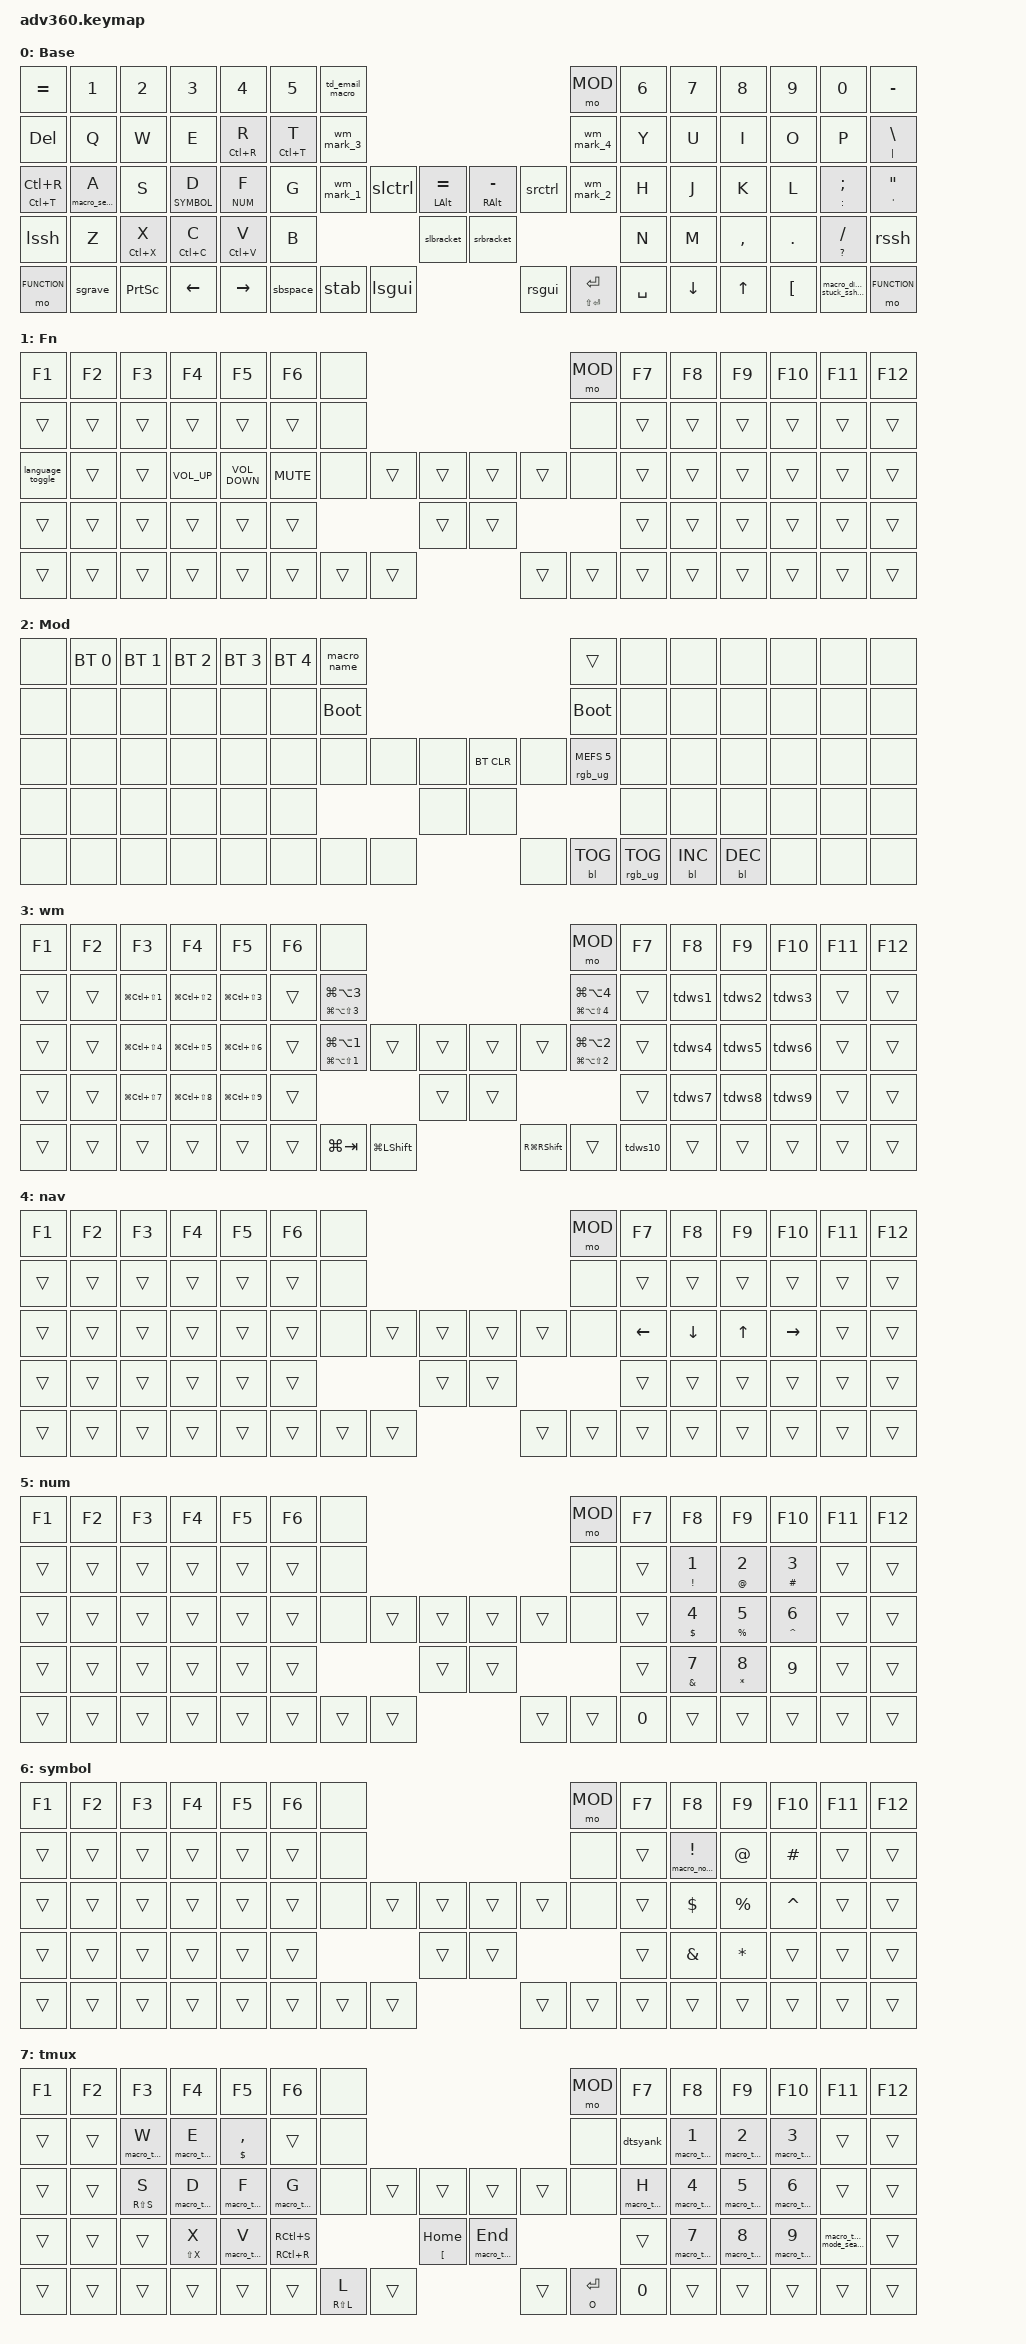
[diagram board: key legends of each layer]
#include <behaviors.dtsi>
#include <dt-bindings/zmk/keys.h>
#include <dt-bindings/zmk/bt.h>
#include <dt-bindings/zmk/rgb.h>
#include <dt-bindings/zmk/stp.h>
#include <dt-bindings/zmk/backlight.h>
#include <dt-bindings/zmk/pointing.h>

// The default layer is 0
#define FUNCTION 1
#define MOD      2
#define WM 3
#define NAV 4
#define NUM 5
#define SYMBOL 6
#define TMUX 7




/ {
    behaviors {
      #include "macros.dtsi"
      #include "version.dtsi"
      #ifndef VERSION_MACRO
      macro_ver: macro_ver {
        compatible = "zmk,behavior-macro";
        label = "macro_version";
        #binding-cells = <0>;
    bindings = <&kp RET>;
  };
  #endif

     stab: smarttab {
         compatible = "zmk,behavior-mod-morph";
         label = "SMART_TAB";
         #binding-cells = <0>;
         bindings = <&lt NAV TAB>, <&kp CARET>;
         mods = <(MOD_RCTL)>;
         keep-mods = <(MOD_RCTL)>;
     };

     slctrl: smart_left_control {
          compatible = "zmk,behavior-mod-morph";
          label = "SMART_LEFT_CONTROL";
          #binding-cells = <0>;
          bindings = <&hm LCTRL ESC>, <&hm LESS_THAN LEFT_PARENTHESIS>;
          mods = <(MOD_LSFT | MOD_RSFT)>;
        };
     srctrl: smart_right_control {
          compatible = "zmk,behavior-mod-morph";
          label = "SMART_RIGHT_CONTROL";
          #binding-cells = <0>;
          bindings = <&mt_sl RCTRL TMUX>, <&hm GREATER_THAN RIGHT_PARENTHESIS>;
          mods = <(MOD_LSFT | MOD_RSFT)>;
        };
     slbracket: smart_left_bracket {
          compatible = "zmk,behavior-mod-morph";
          label = "SMART_LEFT_BRACKET";
          #binding-cells = <0>;
          bindings = <&hm LSHIFT LEFT_BRACKET>, <&hm HOME LEFT_BRACE>;
          mods = <(MOD_LSFT | MOD_RSFT)>;
        };
     srbracket: smart_right_bracket {
          compatible = "zmk,behavior-mod-morph";
          label = "SMART_RIGHT_BRACKET";
          #binding-cells = <0>;
          bindings = <&hm RSHIFT RIGHT_BRACKET>, <&hm END RIGHT_BRACE>;
          mods = <(MOD_LSFT | MOD_RSFT)>;
        };

     sgrave: smart_grave {
          compatible = "zmk,behavior-mod-morph";
          label = "SMART_GRAVE";
          #binding-cells = <0>;
          bindings = <&ht_triple_backtic 0 GRAVE>, <&kp TILDE>;
          mods = <(MOD_LSFT | MOD_RSFT)>;
        };

     lsgui: left_smart_gui {
          compatible = "zmk,behavior-mod-morph";
          label = "LEFT_SMART_GUI";
          #binding-cells = <0>;
          bindings = <&mt_sl LGUI WM>, <&macro_home_dir>;
          mods = <(MOD_RGUI)>;
        };
     rsgui: right_smart_gui {
          compatible = "zmk,behavior-mod-morph";
          label = "RIGHT_SMART_GUI";
          #binding-cells = <0>;
          bindings = <&mt_sl RGUI WM>, <&macro_dir_up>;
          mods = <(MOD_LGUI)>;
        };
     lssh: left_smart_shift {
          compatible = "zmk,behavior-mod-morph";
          label = "LEFT_SMART_SHIFT";
          #binding-cells = <0>;
          bindings = <&sk LSHIFT>, <&caps_word>;
          mods = <(MOD_LSFT)>;
        };
     rssh: right_smart_shift {
           compatible = "zmk,behavior-mod-morph";
           label = "RIGHT_SMART_SHIFT";
           #binding-cells = <0>;
           bindings = <&sk RSHIFT>, <&caps_word>;
           mods = <(MOD_RSFT)>;
        };
     language_toggle: language_toggle {
           compatible = "zmk,behavior-mod-morph";
           #binding-cells = <0>;
           bindings = <&kp CAPS>, <&kp CAPS>;
           mods = <(MOD_LSFT | MOD_RSFT)>;
        };

      email: used_emails {
            compatible = "zmk,behavior-mod-morph";
            label = "USED_EMAILS";
            #binding-cells = <0>;
            bindings = <&macro_personal_email>, <&macro_work_email>;
            mods = <(MOD_RSFT)>;
        };

      td_email_macro: td_email_macro {
           compatible = "zmk,behavior-tap-dance";
           label = "TD_EMAIL_MACRO";
           #binding-cells = <0>;
           tapping-term-ms = <200>;
           bindings = <&macro_personal_email>, <&macro_work_email>;
      };

      wm_mark_1: wm_mark_1 {
            compatible = "zmk,behavior-mod-morph";
            label = "WM_MARK_1";
            #binding-cells = <0>;
            bindings = <&kp N1>, <&mt LA(LS(N1)) LA(N1)>;
            mods = <(MOD_LGUI | MOD_RGUI)>;
            keep-mods = <(MOD_LGUI | MOD_RGUI)>;
        };

      wm_mark_2: wm_mark_2 {
            compatible = "zmk,behavior-mod-morph";
            label = "WM_MARK_2";
            #binding-cells = <0>;
            bindings = <&kp N2>, <&mt LA(LS(N2)) LA(N2)>;
            mods = <(MOD_LGUI | MOD_RGUI)>;
            keep-mods = <(MOD_LGUI | MOD_RGUI)>;
        };

      wm_mark_3: wm_mark_3 {
            compatible = "zmk,behavior-mod-morph";
            label = "WM_MARK_3";
            #binding-cells = <0>;
            bindings = <&kp N3>, <&mt LA(LS(N3)) LA(N3)>;
            mods = <(MOD_LGUI | MOD_RGUI)>;
            keep-mods = <(MOD_LGUI | MOD_RGUI)>;
        };


      wm_mark_4: wm_mark_4 {
            compatible = "zmk,behavior-mod-morph";
            label = "WM_MARK_4";
            #binding-cells = <0>;
            bindings = <&kp N4>, <&mt LA(LS(N4)) LA(N4)>;
            mods = <(MOD_LGUI | MOD_RGUI)>;
            keep-mods = <(MOD_LGUI | MOD_RGUI)>;
        };

      hm: homerow_mods {
          compatible = "zmk,behavior-hold-tap";
          label = "HOMEROW_MODS";
          #binding-cells = <2>;
          tapping-term-ms = <200>;
          quick-tap-ms = <175>;
          require-prior-idle-ms = <175>;
          flavor = "tap-preferred";
          bindings = <&kp>, <&kp>;
      };

      // mode-tap(mt) with sticky layer(sl) activated on tap.
      mt_sl: behavior_mo_tog {
            compatible = "zmk,behavior-hold-tap";
            label = "mo_tog";
            #binding-cells = <2>;
            flavor = "hold-preferred";
            tapping-term-ms = <200>;
            bindings = <&kp>, <&sl>;
        };

      td0: tap_dance_0 {
           compatible = "zmk,behavior-tap-dance";
           label = "TAP_DANCE_0";
           #binding-cells = <0>;
           tapping-term-ms = <200>;
           bindings = <&kp LGUI>, <&kp LG(LSHFT)>;
      };

      td1: tap_dance_1 {
           compatible = "zmk,behavior-tap-dance";
           label = "TAP_DANCE_1";
           #binding-cells = <0>;
           tapping-term-ms = <200>;
           bindings = <&kp RGUI>, <&kp RG(RSHFT)>;
      };

      // tab-dance for i3

      tdws1: tap_dance_i3_workspace_1{
           compatible = "zmk,behavior-tap-dance";
           label = "TAP_DANCE_I3_WORKSPACE_1";
           #binding-cells = <0>;
           tapping-term-ms = <200>;
           bindings = <&hm LG(LS(N1)) LG(N1)>, <&kp LG(LC(LS(N1)))>;
      };

      tdws2: tap_dance_i3_workspace_2{
           compatible = "zmk,behavior-tap-dance";
           label = "TAP_DANCE_I3_WORKSPACE_2";
           #binding-cells = <0>;
           tapping-term-ms = <200>;
           bindings = <&hm LG(LS(N2)) LG(N2)>, <&kp LG(LC(LS(N2)))>;
      };
      tdws3: tap_dance_i3_workspace_3{
           compatible = "zmk,behavior-tap-dance";
           label = "TAP_DANCE_I3_WORKSPACE_3";
           #binding-cells = <0>;
           tapping-term-ms = <200>;
           bindings = <&hm LG(LS(N3)) LG(N3)>, <&kp LG(LC(LS(N3)))>;
      };
      tdws4: tap_dance_i3_workspace_4{
           compatible = "zmk,behavior-tap-dance";
           label = "TAP_DANCE_I3_WORKSPACE_4";
           #binding-cells = <0>;
           tapping-term-ms = <200>;
           bindings = <&hm LG(LS(N4)) LG(N4)>, <&kp LG(LC(LS(N4)))>;
      };
      tdws5: tap_dance_i3_workspace_5{
           compatible = "zmk,behavior-tap-dance";
           label = "TAP_DANCE_I3_WORKSPACE_5";
           #binding-cells = <0>;
           tapping-term-ms = <200>;
           bindings = <&hm LG(LS(N5)) LG(N5)>, <&kp LG(LC(LS(N5)))>;
      };
      tdws6: tap_dance_i3_workspace_6{
           compatible = "zmk,behavior-tap-dance";
           label = "TAP_DANCE_I3_WORKSPACE_6";
           #binding-cells = <0>;
           tapping-term-ms = <200>;
           bindings = <&hm LG(LS(N6)) LG(N6)>, <&kp LG(LC(LS(N6)))>;
      };
      tdws7: tap_dance_i3_workspace_7{
           compatible = "zmk,behavior-tap-dance";
           label = "TAP_DANCE_I3_WORKSPACE_7";
           #binding-cells = <0>;
           tapping-term-ms = <200>;
           bindings = <&hm LG(LS(N7)) LG(N7)>, <&kp LG(LC(LS(N7)))>;
      };
      tdws8: tap_dance_i3_workspace_8{
           compatible = "zmk,behavior-tap-dance";
           label = "TAP_DANCE_I3_WORKSPACE_8";
           #binding-cells = <0>;
           tapping-term-ms = <200>;
           bindings = <&hm LG(LS(N8)) LG(N8)>, <&kp LG(LC(LS(N8)))>;
      };
      tdws9: tap_dance_i3_workspace_9{
           compatible = "zmk,behavior-tap-dance";
           label = "TAP_DANCE_I3_WORKSPACE_9";
           #binding-cells = <0>;
           tapping-term-ms = <200>;
           bindings = <&hm LG(LS(N9)) LG(N9)>, <&kp LG(LC(LS(N9)))>;
      };
      tdws10: tap_dance_i3_workspace_10{
           compatible = "zmk,behavior-tap-dance";
           label = "TAP_DANCE_I3_WORKSPACE_10";
           #binding-cells = <0>;
           tapping-term-ms = <200>;
           bindings = <&hm LG(LS(N0)) LG(N0)>, <&kp LG(LC(LS(N0)))>;
      };
      // end of tap-dance for i3



      dtbspace: double_tap_backspace {
           compatible = "zmk,behavior-tap-dance";
           label = "DOUBLE_TAP_BACKSPACE";
           #binding-cells = <0>;
           tapping-term-ms = <150>;
           bindings = <&kp BSPC>, <&kp RC(BSPC)>;
      };

      sbspace: smart_back_space {
           compatible = "zmk,behavior-mod-morph";
           label = "SMART_BACK_SPACE";
           #binding-cells = <0>;
           bindings = <&hm RC(BSPC) BSPC>, <&hm RC(DEL) DEL>;
           mods = <(MOD_LSFT | MOD_RSFT)>;
        };

      ht_select_all_and_copy: select_all_and_copy {
          compatible = "zmk,behavior-hold-tap";
          label = "SELECT_ALL_AND_COPY";
          #binding-cells = <2>;
          tapping-term-ms = <200>;
          quick-tap-ms = <175>;
          require-prior-idle-ms = <175>;
          flavor = "tap-preferred";
          bindings = <&macro_select_all_and_copy_it>, <&kp>;
      };
      ht_not_equal_to_operator: not_equal_to_operator {
          compatible = "zmk,behavior-hold-tap";
          label = "NOT_EQUAL_TO_OPERATOR";
          #binding-cells = <2>;
          tapping-term-ms = <200>;
          quick-tap-ms = <175>;
          require-prior-idle-ms = <175>;
          flavor = "tap-preferred";
          bindings = <&macro_not_equal_to_operator>, <&kp>;
      };
      ht_triple_backtic: triple_backtic {
          compatible = "zmk,behavior-hold-tap";
          label = "TRIPLE_BACKTIC";
          #binding-cells = <2>;
          tapping-term-ms = <200>;
          quick-tap-ms = <175>;
          require-prior-idle-ms = <175>;
          flavor = "tap-preferred";
          bindings = <&macro_triple_backtick>, <&kp>;
      };
      //tmux bindings
      ht_tmux: ht_tmux {
          compatible = "zmk,behavior-hold-tap";
          label = "HT_TMUX ";
          #binding-cells = <2>;
          tapping-term-ms = <200>;
          quick-tap-ms = <175>;
          require-prior-idle-ms = <175>;
          flavor = "tap-preferred";
          bindings = <&macro_tmux_prefix_with_parameterized_command>, <&macro_tmux_prefix_with_parameterized_command>;
      };
      // double tap smart yank
      dtsyank: double_tap_smart_yank {
           compatible = "zmk,behavior-tap-dance";
           label = "DOUBLE_TAP_SMART_YAMK";
           #binding-cells = <0>;
           tapping-term-ms = <150>;
           bindings = <&ht_tmux RA(Y) RC(Y)>, <&ht_tmux RS(Y) Y>;
      };
    };

  keymap {
    compatible = "zmk,keymap";

    default_layer {
      display-name = "Base";
      bindings = <
        &kp EQUAL                   &kp N1                          &kp N2                &kp N3                &kp N4               &kp N5       &td_email_macro                                                                                                                         &mo MOD                 &kp N6 &kp N7                &kp N8    &kp N9   &kp N0                                              &kp MINUS
        &kp DEL                     &kp Q                           &kp W                 &kp E                 &hm LC(R) R          &hm LC(T) T  &wm_mark_3                                                                                                                              &wm_mark_4              &kp Y  &kp U                 &kp I     &kp O    &kp P                                               &hm PIPE BSLH
        &hm LC(T) LC(R)             &ht_select_all_and_copy 0 A     &kp S                 &lt SYMBOL D          &lt NUM F            &kp G        &wm_mark_1      &slctrl             &hm LALT EQUAL                   &hm RALT MINUS     &srctrl                                         &wm_mark_2              &kp H  &kp J                 &kp K     &kp L    &hm COLON SEMI                                      &hm SQT DQT
        &lssh                       &kp Z                           &hm LC(X) X           &hm LC(C) C           &hm LC(V) V          &kp B                                            &slbracket                       &srbracket                                                                                 &kp N  &kp M                 &kp COMMA &kp DOT  &hm QMARK FSLH                                      &rssh
        &mo FUNCTION                &sgrave                         &kp PRINTSCREEN       &kp LEFT              &kp RIGHT                                &sbspace &stab               &lsgui                           &rsgui             &hm LS(ENTER) ENTER       &kp SPACE                                            &kp DOWN              &kp UP    &kp LBKT &macro_disconect_from_stuck_ssh_connection          &mo FUNCTION
      >;
    };
    fn {
      display-name = "Fn";
      bindings = <
        &kp F1            &kp F2 &kp F3 &kp F4          &kp F5            &kp F6      &none                                                       &mo MOD &kp F7 &kp F8 &kp F9 &kp F10 &kp F11 &kp F12
        &trans            &trans &trans &trans          &trans            &trans      &none                                                       &none   &trans &trans &trans &trans  &trans  &trans
        &language_toggle  &trans &trans &kp C_VOLUME_UP &kp C_VOLUME_DOWN &kp C_MUTE  &none        &trans &trans             &trans &trans        &none   &trans &trans &trans &trans  &trans  &trans
        &trans            &trans &trans &trans          &trans            &trans                          &trans             &trans                       &trans &trans &trans &trans  &trans  &trans
        &trans            &trans &trans &trans          &trans                              &trans &trans &trans             &trans &trans &trans                &trans &trans &trans  &trans  &trans
      >;
    };
    mod {
      display-name = "Mod";
      bindings = <
        &none &bt BT_SEL 0 &bt BT_SEL 1 &bt BT_SEL 2 &bt BT_SEL 3 &bt BT_SEL 4 &macro_name                                                                  &trans                 &none        &none        &none        &none &none &none
        &none &none        &none        &none        &none        &none        &bootloader                                                                  &bootloader            &none        &none        &none        &none &none &none
        &none &none        &none        &none        &none        &none        &none                   &none &none    &bt BT_CLR &none                      &rgb_ug RGB_MEFS_CMD 5 &none        &none        &none        &none &none &none
        &none &none        &none        &none        &none        &none                                      &none    &none                                                        &none        &none        &none        &none &none &none
        &none &none        &none        &none        &none                                       &none &none &none    &none      &bl BL_TOG &rgb_ug RGB_TOG                                     &bl BL_INC   &bl BL_DEC   &none &none &none
      >;
    };
    wm {
      bindings = <
        &kp F1 &kp F2 &kp F3               &kp F4             &kp F5             &kp F6  &none                                                                                                                         &mo MOD                         &kp F7   &kp F8                &kp F9                &kp F10                &kp F11 &kp F12
        &trans &trans &kp LG(LC(LS(N1)))   &kp LG(LC(LS(N2))) &kp LG(LC(LS(N3))) &trans  &mt LG(LA(LS(N3))) LG(LA(N3))                                                                                                 &mt LG(LA(LS(N4))) LG(LA(N4))   &trans   &tdws1                &tdws2                &tdws3                 &trans  &trans
        &trans &trans &kp LG(LC(LS(N4)))   &kp LG(LC(LS(N5))) &kp LG(LC(LS(N6))) &trans  &mt LG(LA(LS(N1))) LG(LA(N1))        &trans      &trans                    &trans        &trans                               &mt LG(LA(LS(N2))) LG(LA(N2))   &trans   &tdws4                &tdws5                &tdws6                 &trans  &trans
        &trans &trans &kp LG(LC(LS(N7)))   &kp LG(LC(LS(N8))) &kp LG(LC(LS(N9))) &trans                                                   &trans                    &trans                                                                             &trans   &tdws7                &tdws8                &tdws9                 &trans  &trans
        &trans &trans &trans               &trans             &trans                                                   &trans &kp LG(TAB) &kp LG(LSHFT)             &kp RG(RSHFT) &trans &tdws10                                                                &trans                &trans                &trans                 &trans  &trans
      >;
    };
    nav {
      bindings = <
        &kp F1 &kp F2 &kp F3 &kp F4 &kp F5 &kp F6  &none                                                       &mo MOD &kp F7   &kp F8   &kp F9 &kp F10    &kp F11 &kp F12
        &trans &trans &trans &trans &trans &trans  &none                                                       &none   &trans   &trans   &trans &trans     &trans  &trans
        &trans &trans &trans &trans &trans &trans  &none        &trans &trans             &trans &trans        &none   &kp LEFT &kp DOWN &kp UP &kp RIGHT  &trans  &trans
        &trans &trans &trans &trans &trans &trans                      &trans             &trans                       &trans   &trans   &trans &trans     &trans  &trans
        &trans &trans &trans &trans &trans               &trans &trans &trans             &trans &trans &trans                  &trans   &trans &trans     &trans  &trans
      >;
    };
    num {
      bindings = <
        &kp F1 &kp F2 &kp F3 &kp F4 &kp F5 &kp F6  &none                                                       &mo MOD &kp F7 &kp F8             &kp F9           &kp F10       &kp F11 &kp F12
        &trans &trans &trans &trans &trans &trans  &none                                                       &none   &trans &hm EXCLAMATION N1 &hm AT_SIGN N2   &hm POUND N3  &trans  &trans
        &trans &trans &trans &trans &trans &trans  &none        &trans &trans             &trans &trans        &none   &trans &hm DOLLAR N4      &hm PERCENT N5   &hm CARET N6  &trans  &trans
        &trans &trans &trans &trans &trans &trans                      &trans             &trans                       &trans &hm AMPERSAND N7   &hm ASTERISK N8  &kp N9        &trans  &trans
        &trans &trans &trans &trans &trans               &trans &trans &trans             &trans &trans &kp N0                &trans             &trans           &trans        &trans  &trans
      >;
    };
    symbol {
      bindings = <
        &kp F1 &kp F2 &kp F3 &kp F4 &kp F5 &kp F6  &none                                                       &mo MOD &kp F7 &kp F8                                    &kp F9             &kp F10          &kp F11 &kp F12
        &trans &trans &trans &trans &trans &trans  &none                                                       &none   &trans &ht_not_equal_to_operator 0 EXCLAMATION   &kp AT             &kp POUND        &trans  &trans
        &trans &trans &trans &trans &trans &trans  &none        &trans &trans             &trans &trans        &none   &trans &kp DOLLAR                                &kp PERCENT        &kp CARET        &trans  &trans
        &trans &trans &trans &trans &trans &trans                      &trans             &trans                       &trans &kp AMPERSAND                             &kp ASTERISK       &trans           &trans  &trans
        &trans &trans &trans &trans &trans               &trans &trans &trans             &trans &trans &trans                &trans                                    &trans             &trans           &trans  &trans
      >;
    };
    tmux {
      bindings = <
        &kp F1 &kp F2 &kp F3                                           &kp F4                                              &kp F5                                                &kp F6                                           &none                                                                                                                                                                        &mo MOD &kp F7                                                       &kp F8                                                        &kp F9                                                            &kp F10                                                          &kp F11                                                &kp F12
        &trans &trans &macro_tmux_prefix_with_parameterized_command W  &macro_tmux_prefix_with_parameterized_command E     &ht_tmux DOLLAR COMMA                                 &trans                                           &none                                                                                                                                                                        &none   &dtsyank                                                     &macro_tmux_prefix_with_parameterized_command N1              &macro_tmux_prefix_with_parameterized_command N2                  &macro_tmux_prefix_with_parameterized_command N3                 &trans                                                 &trans
        &trans &trans &ht_tmux RS(S) S                                 &macro_tmux_prefix_with_parameterized_command D     &macro_tmux_prefix_with_parameterized_command F       &macro_tmux_prefix_with_parameterized_command G  &none             &trans                                       &trans                                        &trans &trans                                                   &none   &macro_tmux_prefix_with_parameterized_command H              &macro_tmux_prefix_with_parameterized_command N4              &macro_tmux_prefix_with_parameterized_command N5                  &macro_tmux_prefix_with_parameterized_command N6                 &trans                                                 &trans
        &trans &trans &trans                                           &ht_tmux LS(X) X                                    &macro_tmux_prefix_with_parameterized_command V       &ht_tmux RC(R) RC(S)                                                                                            &ht_tmux LBKT HOME                            &macro_tmux_prefix_with_parameterized_command END                       &trans                                                       &macro_tmux_prefix_with_parameterized_command N7              &macro_tmux_prefix_with_parameterized_command N8                  &macro_tmux_prefix_with_parameterized_command N9                 &macro_tmux_copy_mode_search_up                        &trans
        &trans &trans &trans                                           &trans                                              &trans                                                                                                            &trans &ht_tmux RS(L) L                             &trans                                        &trans &ht_tmux O ENTER  &kp N0                                                                                                      &trans                                                        &trans                                                            &trans                                                           &trans                                                 &trans
      >;
    };
  };
};
